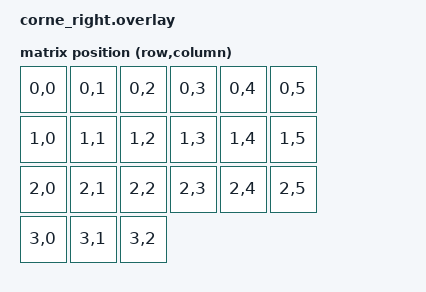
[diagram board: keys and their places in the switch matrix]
#include <dt-bindings/zmk/matrix_transform.h>
#include <layouts/foostan/corne/6column.dtsi>

// Use the same 42-key Corne geometry and attach our right-half transform.
&foostan_corne_6col_layout {
    transform = <&corne_right_transform>;
};

&{/} {
    chosen {
        zmk,physical-layout = &foostan_corne_6col_layout;
    };

    // Right half: 6 columns x 4 rows, with thumbs at row 3, cols 0..2.
    // Explicitly include RC(2,5) to fix your missing key at that position.
    corne_right_transform: keymap_transform_right {
        compatible = "zmk,matrix-transform";
        columns = <6>;
        rows = <4>;
        map = <
            // Row 0
            RC(0,0) RC(0,1) RC(0,2) RC(0,3) RC(0,4) RC(0,5)
            // Row 1
            RC(1,0) RC(1,1) RC(1,2) RC(1,3) RC(1,4) RC(1,5)
            // Row 2 (include RC(2,5) — previously missing)
            RC(2,0) RC(2,1) RC(2,2) RC(2,3) RC(2,4) RC(2,5)
            // Thumbs (right 3)
            RC(3,0) RC(3,1) RC(3,2)
        >;
    };
};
